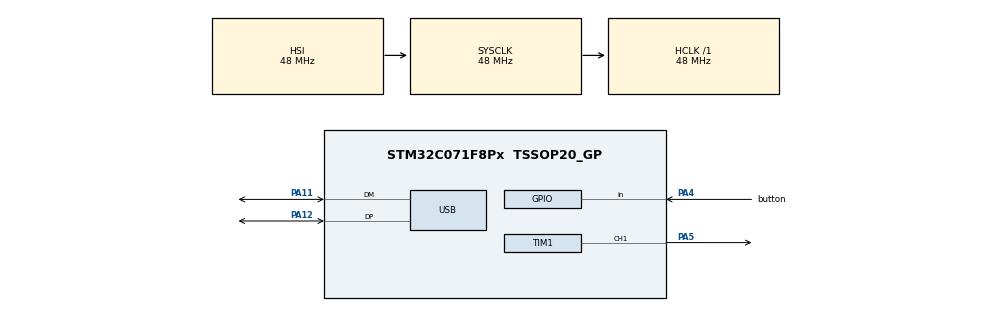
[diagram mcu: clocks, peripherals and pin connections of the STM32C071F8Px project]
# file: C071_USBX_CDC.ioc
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Dma.Request0=TIM1_CH1
Dma.TIM1_CH1.0.Direction=DMA_MEMORY_TO_PERIPH
Dma.TIM1_CH1.0.EventEnable=DISABLE
Dma.TIM1_CH1.0.Instance=DMA1_Channel1
Dma.TIM1_CH1.0.MemDataAlignment=DMA_MDATAALIGN_HALFWORD
Dma.TIM1_CH1.0.MemInc=DMA_MINC_ENABLE
Dma.TIM1_CH1.0.Mode=DMA_NORMAL
Dma.TIM1_CH1.0.PeriphDataAlignment=DMA_PDATAALIGN_HALFWORD
Dma.TIM1_CH1.0.PeriphInc=DMA_PINC_DISABLE
Dma.TIM1_CH1.0.Polarity=HAL_DMAMUX_REQ_GEN_RISING
Dma.TIM1_CH1.0.Priority=DMA_PRIORITY_MEDIUM
Dma.TIM1_CH1.0.RequestNumber=1
Dma.TIM1_CH1.0.SignalID=NONE
Dma.TIM1_CH1.0.SyncEnable=DISABLE
Dma.TIM1_CH1.0.SyncPolarity=HAL_DMAMUX_SYNC_NO_EVENT
Dma.TIM1_CH1.0.SyncRequestNumber=1
Dma.TIM1_CH1.0.SyncSignalID=NONE
Mcu.Family=STM32C0
Mcu.Name=STM32C071F8Px
Mcu.Package=TSSOP20_GP
NVIC.DMA1_Channel1_IRQn=true\:0\:0\:false\:false\:true\:false\:true\:true
NVIC.USB_DRD_FS_IRQn=true\:0\:0\:false\:false\:true\:true\:true\:true
PA11\ [PA9].Mode=Device
PA11\ [PA9].Signal=USB_DM
PA12\ [PA10].Mode=Device
PA12\ [PA10].Signal=USB_DP
PA14-BOOT0__PA15.StandardMode=true
PA4.GPIO_Label=button
PA4.GPIO_PuPd=GPIO_PULLUP
PA4.Signal=GPIO_Input
PA5.GPIO_Speed=GPIO_SPEED_FREQ_HIGH
PA5.PinState=GPIO_PIN_RESET
PA5.Signal=S_TIM1_CH1
PB3__PB4__PB5__PB6.StandardMode=true
PB7__PB8.StandardMode=true
ProjectManager.HeapSize=0x200
ProjectManager.StackSize=0x400
ProjectManager.TargetToolchain=STM32CubeIDE
RCC.ADCFreq_Value=48000000
RCC.AHBFreq_Value=48000000
RCC.CortexFreq_Value=48000000
RCC.EXTERNAL_CLOCK_VALUE=12288000
RCC.HCLKFreq_Value=48000000
RCC.HSE_VALUE=8000000
RCC.HSI48_VALUE=48000000
RCC.HSISYSCLKDivider=RCC_HSI_DIV1
RCC.HSI_VALUE=48000000
RCC.LSE_VALUE=32768
RCC.SYSCLKFreq_VALUE=48000000
SH.S_TIM1_CH1.0=TIM1_CH1,PWM Generation1 CH1
TIM1.Channel-PWM\ Generation1\ CH1=TIM_CHANNEL_1
TIM1.OCFastMode_PWM-PWM\ Generation1\ CH1=TIM_OCFAST_DISABLE
TIM1.Period=59
USB.VirtualMode=Device_Only
USBX.BSP.number=1
USBX.Core_System=1
USBX.USBD_CDCACM_EPIN_ADDR=2
USBX.USBD_CDCACM_EPOUT_ADDR=3
USBX.USBX_DEVICE_SYS_SIZE=1024*10
USBX.UX_DEVICE_APP_MEM_POOL_SIZE_STANDALONE=1024*10
USBX.UX_DEVICE_CDC_ACM=1
USBX.UX_Device_Controller=1
USBX.UX_Device_CoreStack=1
USBX0.BSP.STBoard=false
USBX0.BSP.api=Unknown
USBX0.BSP.instance=USB
USBX0.BSP.ip=USB
USBX0.BSP.mode=Device_Only
USBX0.BSP.name=USB_Device
USBX0.BSP.solution=USB
VP_RCC_USB.Mode=CRS SYNC Source USB
VP_USBX_Core_System.Mode=Core_System
VP_USBX_UX\ Device\ CDC\ ACM\ Class_FS.Mode=UX_Device_class_CDC_ACM_FS
VP_USBX_UX\ Device\ Controller_FS.Mode=UX_Device_Controller_FS
VP_USBX_UX\ Device\ CoreStack_FS.Mode=UX_Device_CoreStack_FS
board=custom

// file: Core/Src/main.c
/* USER CODE BEGIN Header */
/**
  ******************************************************************************
  * @file           : main.c
  * @brief          : Main program body
  ******************************************************************************
  * @attention
  *
  * Copyright (c) 2026 STMicroelectronics.
  * All rights reserved.
  *
  * This software is licensed under terms that can be found in the LICENSE file
  * in the root directory of this software component.
  * If no LICENSE file comes with this software, it is provided AS-IS.
  *
  ******************************************************************************
  */
/* USER CODE END Header */
#include "main.h"
#include "app_usbx_device.h"

/* USER CODE BEGIN Includes */
#include "ws2812.h"
#include <string.h>
#include <stdio.h>
#include <stdlib.h>
#include <stdarg.h>
/* USER CODE END Includes */

TIM_HandleTypeDef htim1;
DMA_HandleTypeDef hdma_tim1_ch1;

PCD_HandleTypeDef hpcd_USB_DRD_FS;

/* USER CODE BEGIN PV */
#define RX_BUF_SIZE 64
#define LINE_BUF_SIZE    64             /* 終端の\0込み */
static uint8_t  rx_buf[RX_BUF_SIZE];
static uint32_t rx_len = 0;
static char     line_buf[LINE_BUF_SIZE];
static uint16_t line_len = 0;
static uint8_t  prev_cr = 0;

#define NEO_LEDS         6
#define BTN_DEBOUNCE_MS   30U      /* チャタリング除去 */
#define BTN_LONG_MS       600U     /* この時間以上押し続けると長押し */
#define COLOR_STEP_MS     20U      /* 長押し中、色を進める間隔 */
#define COLOR_STEP        2U       /* 1回で進める色相(0..255)。全周 約2.5秒 */

static uint32_t frame_ms   = 20;     /* speedで変わる（100 / speed） */
static uint8_t  speed_val  = 5;
#define BRIGHT_DEFAULT  32U          /* 輝度の初期値 */
#define BRIGHT_MAX      128U         /* 輝度の上限 */
static uint8_t  bright_val = BRIGHT_DEFAULT;
static uint32_t reset_at   = 0;

static uint8_t  auto_demo = 0;
static uint32_t auto_interval_ms = 5000;
static uint32_t auto_next_at = 0;

/* USER CODE END PV */

void SystemClock_Config(void);
static void MX_GPIO_Init(void);
static void MX_DMA_Init(void);
static void MX_TIM1_Init(void);

/* USER CODE BEGIN 0 */

//neopixel

typedef enum {
  PAT_SOLID, PAT_BLINK, PAT_BREATH,
  PAT_RAINBOW, PAT_CHASE, PAT_KNIGHT, PAT_TWINKLE, PAT_HUE,
  PAT_MANUAL,                           /* set / fill 用（ボタン巡回では飛ばす） */
  PAT_COUNT
} neo_pat_t;

static const char *pat_names[PAT_COUNT] = {
  "solid", "blink", "breath", "rainbow", "chase", "knight", "twinkle", "hue", "manual"
};

static neo_pat_t pat       = PAT_RAINBOW;
static uint8_t   col_r = 255, col_g = 0, col_b = 0;   /* 単色系パターンの色 */
static uint8_t   col_hue = 0;                         /* 長押しで変える色相（0=赤） */
static uint32_t  frame = 0;
static uint8_t   tw[NEO_LEDS];          /* twinkle用の明るさ */
static uint32_t  rnd = 2463534242u;

static uint32_t xorshift(void)
{
  rnd ^= rnd << 13; rnd ^= rnd >> 17; rnd ^= rnd << 5;
  return rnd;
}

/* 輝度は WS2812_Show() 側で掛かる */
static void put(uint32_t i, uint8_t r, uint8_t g, uint8_t b)
{
  WS2812_SetPixel(i, r, g, b);
}
/* 単色(col_*) × level(0..255) */
static void put_level(uint32_t i, uint8_t level)
{
  uint32_t l = (uint32_t)level + 1;
  put(i, (col_r * l) >> 8, (col_g * l) >> 8, (col_b * l) >> 8);
}

/* 色相 0..255 → RGB（彩度・明度は最大） */
static void hue2rgb(uint8_t h, uint8_t *r, uint8_t *g, uint8_t *b)
{
  uint8_t region = h / 43;
  uint8_t rem = (uint8_t)((h - region * 43) * 6);
  switch (region) {
  case 0:  *r = 255;       *g = rem;       *b = 0;         break;
  case 1:  *r = 255 - rem; *g = 255;       *b = 0;         break;
  case 2:  *r = 0;         *g = 255;       *b = rem;       break;
  case 3:  *r = 0;         *g = 255 - rem; *b = 255;       break;
  case 4:  *r = rem;       *g = 0;         *b = 255;       break;
  default: *r = 255;       *g = 0;         *b = 255 - rem; break;
  }
}

void neo_set_pattern(neo_pat_t p)
{
  pat = p;
  frame = 0;
  memset(tw, 0, sizeof(tw));
}

/* メインループから毎回呼ぶ。frame_ms(既定20ms)ごとに1フレーム進める */
void neo_update(void)
{
  static uint32_t last = 0;
  if (!WS2812_IsReady()) return;                    /* 送信中は飛ばす */
  if ((HAL_GetTick() - last) < frame_ms) return;
  last = HAL_GetTick();

  uint32_t t = frame++;

  switch (pat) {
  case PAT_MANUAL:                          /* set / fill で指定した色を保持 */
    break;

  case PAT_SOLID:
    for (uint32_t i = 0; i < NEO_LEDS; i++) put_level(i, 255);
    break;

  case PAT_BLINK: {                         /* 0.5秒ごとに点滅 */
    uint8_t lv = ((t / 25) & 1) ? 0 : 255;
    for (uint32_t i = 0; i < NEO_LEDS; i++) put_level(i, lv);
    break;
  }

  case PAT_BREATH: {                        /* 呼吸（約2秒周期） */
    uint32_t ph = (t * 6) % 512;
    uint32_t v  = (ph < 256) ? ph : 511 - ph;   /* 三角波 */
    v = (v * v) >> 8;                           /* 簡易ガンマ */
    for (uint32_t i = 0; i < NEO_LEDS; i++) put_level(i, (uint8_t)v);
    break;
  }

  case PAT_RAINBOW:                         /* 虹が流れる */
    for (uint32_t i = 0; i < NEO_LEDS; i++) {
      uint8_t r, g, b;
      hue2rgb((uint8_t)(t * 2 + (i * 256) / NEO_LEDS), &r, &g, &b);
      put(i, r, g, b);
    }
    break;

  case PAT_CHASE: {                         /* 1個が走る */
    uint32_t pos = (t / 6) % NEO_LEDS;
    for (uint32_t i = 0; i < NEO_LEDS; i++) put_level(i, (i == pos) ? 255 : 0);
    break;
  }

  case PAT_KNIGHT: {                        /* 往復＋尾を引く */
    const uint32_t period = 2 * (NEO_LEDS - 1);
    uint32_t s   = (t / 3) % period;
    uint32_t pos = (s < NEO_LEDS) ? s : period - s;
    for (uint32_t i = 0; i < NEO_LEDS; i++) {
      uint32_t d = (i > pos) ? i - pos : pos - i;
      uint8_t lv = (d == 0) ? 255 : (d == 1) ? 90 : (d == 2) ? 25 : 0;
      put_level(i, lv);
    }
    break;
  }

  case PAT_HUE: {                                   /* 全体が同じ色でゆっくり色相変化 */
	  uint8_t r, g, b;
	  hue2rgb((uint8_t)t, &r, &g, &b);
	  for (uint32_t i = 0; i < NEO_LEDS; i++) put(i, r, g, b);
	  break;
	}

  case PAT_TWINKLE:                         /* ランダムにキラッと光って消える */
    for (uint32_t i = 0; i < NEO_LEDS; i++) tw[i] = (tw[i] > 6) ? tw[i] - 6 : 0;
    if ((xorshift() & 7) == 0) tw[xorshift() % NEO_LEDS] = 255;
    for (uint32_t i = 0; i < NEO_LEDS; i++) put_level(i, tw[i]);
    break;

  default:
    break;
  }

  WS2812_Show();
}

static void cdc_puts(const char *s)
{
  USBD_CDC_ACM_Write((const uint8_t *)s, strlen(s));
}

static void neo_next_pattern(void);        /* 前方宣言 */

#define MAX_ARGS 6

static void cdc_printf(const char *fmt, ...)
{
  char tmp[96];
  va_list ap;
  va_start(ap, fmt);
  int n = vsnprintf(tmp, sizeof(tmp), fmt, ap);
  va_end(ap);
  if (n > 0) {
    if (n >= (int)sizeof(tmp)) n = sizeof(tmp) - 1;
    USBD_CDC_ACM_Write((const uint8_t *)tmp, (uint32_t)n);
  }
}

/* 空白で区切って argv を作る（line を直接書き換える） */
static int tokenize(char *s, char *argv[])
{
  int argc = 0;
  while (*s && argc < MAX_ARGS) {
    while (*s == ' ') *s++ = '\0';
    if (*s == '\0') break;
    argv[argc++] = s;
    while (*s && *s != ' ') s++;
  }
  return argc;
}

/* 範囲チェック付きの整数パース */
static int parse_int(const char *s, int lo, int hi, int *out)
{
  char *end;
  long v = strtol(s, &end, 10);
  if (end == s || *end != '\0' || v < lo || v > hi) return 0;
  *out = (int)v;
  return 1;
}

static void bad_args(void) { cdc_puts("bad args (see help)\r\n"); }

/* ---- ハンドラ ---- */
static void cmd_list(int argc, char *argv[])
{
  (void)argc; (void)argv;
  for (int i = 0; i < PAT_COUNT; i++) {
    cdc_puts(pat_names[i]);
    cdc_puts(i < PAT_COUNT - 1 ? " " : "\r\n");
  }
}

static void cmd_pat(int argc, char *argv[])
{
  if (argc != 2) { bad_args(); return; }
  for (int i = 0; i < PAT_COUNT; i++) {
    if (strcmp(argv[1], pat_names[i]) == 0) {
      neo_set_pattern((neo_pat_t)i);
      cdc_puts("ok\r\n");
      return;
    }
  }
  cdc_puts("unknown pattern\r\n");
}

static void cmd_next(int argc, char *argv[])
{
  (void)argc; (void)argv;
  neo_next_pattern();
}

static void cmd_bright(int argc, char *argv[])
{
  int v;
  if (argc != 2 || !parse_int(argv[1], 0, BRIGHT_MAX, &v)) { bad_args(); return; }
  bright_val = (uint8_t)v;
  WS2812_SetBrightness(bright_val);
  cdc_puts("ok\r\n");
}

static void cmd_speed(int argc, char *argv[])
{
  int v;
  if (argc != 2 || !parse_int(argv[1], 1, 10, &v)) { bad_args(); return; }
  speed_val = (uint8_t)v;
  frame_ms  = 100U / (uint32_t)v;           /* 1→100ms, 5→20ms, 10→10ms */
  cdc_puts("ok\r\n");
}

static void cmd_color(int argc, char *argv[])
{
  int r, g, b;
  if (argc != 4 || !parse_int(argv[1], 0, 255, &r) ||
      !parse_int(argv[2], 0, 255, &g) || !parse_int(argv[3], 0, 255, &b)) {
    bad_args(); return;
  }
  col_r = (uint8_t)r; col_g = (uint8_t)g; col_b = (uint8_t)b;
  cdc_puts("ok\r\n");
}

static void cmd_set(int argc, char *argv[])
{
  int idx, r, g, b;
  if (argc != 5 || !parse_int(argv[1], 0, WS2812_LED_COUNT - 1, &idx) ||
      !parse_int(argv[2], 0, 255, &r) || !parse_int(argv[3], 0, 255, &g) ||
      !parse_int(argv[4], 0, 255, &b)) {
    bad_args(); return;
  }
  if (pat != PAT_MANUAL) neo_set_pattern(PAT_MANUAL);   /* 直前のフレームを保持 */
  WS2812_SetPixel((uint32_t)idx, (uint8_t)r, (uint8_t)g, (uint8_t)b);
  cdc_puts("ok\r\n");
}

static void cmd_fill(int argc, char *argv[])
{
  int r, g, b;
  if (argc != 4 || !parse_int(argv[1], 0, 255, &r) ||
      !parse_int(argv[2], 0, 255, &g) || !parse_int(argv[3], 0, 255, &b)) {
    bad_args(); return;
  }
  if (pat != PAT_MANUAL) neo_set_pattern(PAT_MANUAL);
  WS2812_SetAll((uint8_t)r, (uint8_t)g, (uint8_t)b);
  cdc_puts("ok\r\n");
}

static void cmd_status(int argc, char *argv[])
{
  (void)argc; (void)argv;
  cdc_printf(
      "pat=%s bright=%u speed=%u auto=%u interval=%lu color=%u,%u,%u\r\n",
      pat_names[pat],
      (unsigned)bright_val,
      (unsigned)speed_val,
      (unsigned)auto_demo,
      (unsigned long)(auto_interval_ms / 1000),
      (unsigned)col_r,
      (unsigned)col_g,
      (unsigned)col_b);
}

static void cmd_uptime(int argc, char *argv[])
{
  (void)argc; (void)argv;
  uint32_t s = HAL_GetTick() / 1000U;
  cdc_printf("%lu:%02lu:%02lu\r\n", (unsigned long)(s / 3600U),
             (unsigned long)((s / 60U) % 60U), (unsigned long)(s % 60U));
}

static void cmd_auto(int argc, char *argv[])
{
    if (argc != 2)
    {
        bad_args();
        return;
    }

    if (strcmp(argv[1], "on") == 0)
    {
        auto_demo = 1;
        auto_next_at = HAL_GetTick() + auto_interval_ms;
        cdc_puts("auto on\r\n");
    }
    else if (strcmp(argv[1], "off") == 0)
    {
        auto_demo = 0;
        cdc_puts("auto off\r\n");
    }
    else
    {
        bad_args();
    }
}

static void cmd_interval(int argc, char *argv[])
{
    int v;

    if (argc != 2 ||
        !parse_int(argv[1], 1, 3600, &v))
    {
        bad_args();
        return;
    }

    auto_interval_ms = (uint32_t)v * 1000U;

    cdc_puts("ok\r\n");
}

static void cmd_reset(int argc, char *argv[])
{
  (void)argc; (void)argv;
  cdc_puts("resetting...\r\n");
  reset_at = HAL_GetTick() + 100U;           /* 返信を送り切ってからリセット */
  if (reset_at == 0U) reset_at = 1U;
}

/* ---- コマンドテーブル ---- */
typedef struct {
  const char *name;
  const char *usage;
  void (*fn)(int argc, char *argv[]);
} cmd_t;

static void cmd_help(int argc, char *argv[]);

static const cmd_t cmds[] = {
  { "help",   "",                   cmd_help   },
  { "list",   "",                   cmd_list   },
  { "pat",    "<name>",             cmd_pat    },
  { "next",   "",                   cmd_next   },
  { "auto",     "<on|off>",  cmd_auto     },
  { "interval", "<sec>",     cmd_interval },
  { "bright", "<0-128>",            cmd_bright },
  { "speed",  "<1-10>",             cmd_speed  },
  { "color",  "<r> <g> <b>",        cmd_color  },
  { "set",    "<idx> <r> <g> <b>",  cmd_set    },
  { "fill",   "<r> <g> <b>",        cmd_fill   },
  { "status", "",                   cmd_status },
  { "uptime", "",                   cmd_uptime },
  { "reset",  "",                   cmd_reset  },
};
#define CMD_COUNT  (sizeof(cmds) / sizeof(cmds[0]))

static void cmd_help(int argc, char *argv[])
{
  (void)argc; (void)argv;
  for (size_t i = 0; i < CMD_COUNT; i++) {
    cdc_printf("%s %s\r\n", cmds[i].name, cmds[i].usage);
  }
}

/* 1行確定時に呼ばれる */
static void on_line(char *line)
{
  char *argv[MAX_ARGS];
  int argc = tokenize(line, argv);
  if (argc == 0) return;

  for (size_t i = 0; i < CMD_COUNT; i++) {
    if (strcmp(argv[0], cmds[i].name) == 0) {
      cmds[i].fn(argc, argv);
      return;
    }
  }
  cdc_puts("unknown command (try: help)\r\n");
}

/* メインループから呼ぶ。resetコマンドの実行待ち */
static void reset_task(void)
{
  if (reset_at != 0U && (int32_t)(HAL_GetTick() - reset_at) >= 0) {
    NVIC_SystemReset();
  }
}

static void rx_byte(uint8_t c)
{
  uint8_t was_cr = prev_cr;
  prev_cr = (c == '\r');

  switch (c) {
  case '\r':
  case '\n':
    if (c == '\n' && was_cr) break;          /* CRLFの\nは読み飛ばす */
    line_buf[line_len] = '\0';
    on_line(line_buf);
    line_len = 0;
    break;

  case 0x08:                                 /* Backspace / DEL */
  case 0x7F:
    if (line_len > 0) line_len--;            /* バッファからだけ削除 */
    break;

  default:
    if (c >= 0x20 && c < 0x7F && line_len < LINE_BUF_SIZE - 1) {
      line_buf[line_len++] = (char)c;
    }
    break;
  }
}

static void neo_next_pattern(void)
{
  uint32_t n = (pat + 1) % PAT_COUNT;
  if (n == PAT_MANUAL) n = (n + 1) % PAT_COUNT;
  neo_set_pattern((neo_pat_t)n);
  cdc_puts(pat_names[pat]);
  cdc_puts("\r\n");
}

/* color の影響を受けるパターンか */
static uint8_t pat_uses_color(neo_pat_t p)
{
  return (p == PAT_RAINBOW || p == PAT_HUE || p == PAT_MANUAL) ? 0U : 1U;
}

/* メインループから毎回呼ぶ。
 *  短押し(離した時) : 次のパターン
 *  長押し(押している間): 色相が連続して変わる。離すと現在の色を表示 */
static void button_task(void)
{
  static GPIO_PinState raw_prev = GPIO_PIN_SET;   /* 押下でLow(プルアップ) */
  static GPIO_PinState stable   = GPIO_PIN_SET;
  static uint32_t raw_changed = 0;
  static uint32_t press_start = 0;
  static uint32_t last_step   = 0;
  static uint8_t  long_active = 0;

  uint32_t now = HAL_GetTick();
  GPIO_PinState raw = HAL_GPIO_ReadPin(button_GPIO_Port, button_Pin);

  /* チャタリング除去：一定時間変化しなければ確定 */
  if (raw != raw_prev) {
    raw_prev = raw;
    raw_changed = now;
  }
  if (raw != stable && (now - raw_changed) >= BTN_DEBOUNCE_MS) {
    stable = raw;
    if (stable == GPIO_PIN_RESET) {               /* 押した */
      press_start = now;
      long_active = 0;
    } else {                                      /* 離した */
      if (long_active) {
        cdc_printf("color=%u,%u,%u\r\n",
                   (unsigned)col_r, (unsigned)col_g, (unsigned)col_b);
      } else {
        neo_next_pattern();                       /* 短押し */
      }
      long_active = 0;
    }
  }

  /* 押している間 */
  if (stable == GPIO_PIN_RESET) {
    if (!long_active && (now - press_start) >= BTN_LONG_MS) {
      long_active = 1;
      last_step = now;
      if (!pat_uses_color(pat)) {
        neo_set_pattern(PAT_SOLID);               /* 色の変化が見えるパターンへ */
      }
    }
    if (long_active && (now - last_step) >= COLOR_STEP_MS) {
      last_step = now;
      col_hue = (uint8_t)(col_hue + COLOR_STEP);
      hue2rgb(col_hue, &col_r, &col_g, &col_b);
    }
  }
}

static void auto_demo_task(void)
{
    if (!auto_demo)
        return;

    uint32_t now = HAL_GetTick();

    if ((int32_t)(now - auto_next_at) >= 0)
    {
        auto_next_at = now + auto_interval_ms;
        neo_next_pattern();
    }
}

/* USER CODE END 0 */

int main(void)
{

  /* MCU Configuration--------------------------------------------------------*/

  /* Reset of all peripherals, Initializes the Flash interface and the Systick. */
  HAL_Init();

  /* Configure the system clock */
  SystemClock_Config();

  /* Initialize all configured peripherals */
  MX_GPIO_Init();
  MX_DMA_Init();
  MX_USBX_Device_Init();
  MX_TIM1_Init();
  /* USER CODE BEGIN 2 */
  MX_USB_PCD_Init();
  WS2812_SetBrightness(bright_val);
  neo_set_pattern(PAT_RAINBOW);
  /* USER CODE END 2 */

  /* Infinite loop */
  /* USER CODE BEGIN WHILE */
  while (1)
  {
	ux_device_stack_tasks_run();

	USBD_CDC_ACM_Receive(rx_buf, RX_BUF_SIZE, &rx_len);
	for (uint32_t i = 0; i < rx_len; i++) {
	  rx_byte(rx_buf[i]);
	}
	rx_len = 0;

	USBD_CDC_ACM_TxTask();
	button_task();
	auto_demo_task();
	neo_update();
	reset_task();

    /* USER CODE END WHILE */

  }
}

void SystemClock_Config(void)
{
  RCC_OscInitTypeDef RCC_OscInitStruct = {0};
  RCC_ClkInitTypeDef RCC_ClkInitStruct = {0};
  RCC_CRSInitTypeDef RCC_CRSInitStruct = {0};

  __HAL_FLASH_SET_LATENCY(FLASH_LATENCY_1);

  /** Initializes the RCC Oscillators according to the specified parameters
  * in the RCC_OscInitTypeDef structure.
  */
  RCC_OscInitStruct.OscillatorType = RCC_OSCILLATORTYPE_HSI|RCC_OSCILLATORTYPE_HSI48;
  RCC_OscInitStruct.HSIState = RCC_HSI_ON;
  RCC_OscInitStruct.HSIDiv = RCC_HSI_DIV1;
  RCC_OscInitStruct.HSICalibrationValue = RCC_HSICALIBRATION_DEFAULT;
  RCC_OscInitStruct.HSI48State = RCC_HSI48_ON;

  if (HAL_RCC_OscConfig(&RCC_OscInitStruct) != HAL_OK)
  {
    Error_Handler();
  }

  /** Initializes the CPU, AHB and APB buses clocks
  */
  RCC_ClkInitStruct.ClockType = RCC_CLOCKTYPE_HCLK|RCC_CLOCKTYPE_SYSCLK
                              |RCC_CLOCKTYPE_PCLK1;
  RCC_ClkInitStruct.SYSCLKSource = RCC_SYSCLKSOURCE_HSI;
  RCC_ClkInitStruct.SYSCLKDivider = RCC_SYSCLK_DIV1;
  RCC_ClkInitStruct.AHBCLKDivider = RCC_HCLK_DIV1;
  RCC_ClkInitStruct.APB1CLKDivider = RCC_APB1_DIV1;

  if (HAL_RCC_ClockConfig(&RCC_ClkInitStruct, FLASH_LATENCY_1) != HAL_OK)
  {
    Error_Handler();
  }

  /** Enable the CRS APB clock
  */
  __HAL_RCC_CRS_CLK_ENABLE();

  /** Configures CRS
  */
  RCC_CRSInitStruct.Prescaler = RCC_CRS_SYNC_DIV1;
  RCC_CRSInitStruct.Source = RCC_CRS_SYNC_SOURCE_USB;
  RCC_CRSInitStruct.Polarity = RCC_CRS_SYNC_POLARITY_RISING;
  RCC_CRSInitStruct.ReloadValue = __HAL_RCC_CRS_RELOADVALUE_CALCULATE(48000000,1000);
  RCC_CRSInitStruct.ErrorLimitValue = 34;
  RCC_CRSInitStruct.HSI48CalibrationValue = 32;

  HAL_RCCEx_CRSConfig(&RCC_CRSInitStruct);
}

static void MX_TIM1_Init(void)
{

  TIM_MasterConfigTypeDef sMasterConfig = {0};
  TIM_OC_InitTypeDef sConfigOC = {0};
  TIM_BreakDeadTimeConfigTypeDef sBreakDeadTimeConfig = {0};

  htim1.Instance = TIM1;
  htim1.Init.Prescaler = 0;
  htim1.Init.CounterMode = TIM_COUNTERMODE_UP;
  htim1.Init.Period = 59;
  htim1.Init.ClockDivision = TIM_CLOCKDIVISION_DIV1;
  htim1.Init.RepetitionCounter = 0;
  htim1.Init.AutoReloadPreload = TIM_AUTORELOAD_PRELOAD_DISABLE;
  if (HAL_TIM_PWM_Init(&htim1) != HAL_OK)
  {
    Error_Handler();
  }
  sMasterConfig.MasterOutputTrigger = TIM_TRGO_RESET;
  sMasterConfig.MasterOutputTrigger2 = TIM_TRGO2_RESET;
  sMasterConfig.MasterSlaveMode = TIM_MASTERSLAVEMODE_DISABLE;
  if (HAL_TIMEx_MasterConfigSynchronization(&htim1, &sMasterConfig) != HAL_OK)
  {
    Error_Handler();
  }
  sConfigOC.OCMode = TIM_OCMODE_PWM1;
  sConfigOC.Pulse = 0;
  sConfigOC.OCPolarity = TIM_OCPOLARITY_HIGH;
  sConfigOC.OCNPolarity = TIM_OCNPOLARITY_HIGH;
  sConfigOC.OCFastMode = TIM_OCFAST_DISABLE;
  sConfigOC.OCIdleState = TIM_OCIDLESTATE_RESET;
  sConfigOC.OCNIdleState = TIM_OCNIDLESTATE_RESET;
  if (HAL_TIM_PWM_ConfigChannel(&htim1, &sConfigOC, TIM_CHANNEL_1) != HAL_OK)
  {
    Error_Handler();
  }
  sBreakDeadTimeConfig.OffStateRunMode = TIM_OSSR_DISABLE;
  sBreakDeadTimeConfig.OffStateIDLEMode = TIM_OSSI_DISABLE;
  sBreakDeadTimeConfig.LockLevel = TIM_LOCKLEVEL_OFF;
  sBreakDeadTimeConfig.DeadTime = 0;
  sBreakDeadTimeConfig.BreakState = TIM_BREAK_DISABLE;
  sBreakDeadTimeConfig.BreakPolarity = TIM_BREAKPOLARITY_HIGH;
  sBreakDeadTimeConfig.BreakFilter = 0;
  sBreakDeadTimeConfig.BreakAFMode = TIM_BREAK_AFMODE_INPUT;
  sBreakDeadTimeConfig.Break2State = TIM_BREAK2_DISABLE;
  sBreakDeadTimeConfig.Break2Polarity = TIM_BREAK2POLARITY_HIGH;
  sBreakDeadTimeConfig.Break2Filter = 0;
  sBreakDeadTimeConfig.Break2AFMode = TIM_BREAK_AFMODE_INPUT;
  sBreakDeadTimeConfig.AutomaticOutput = TIM_AUTOMATICOUTPUT_DISABLE;
  if (HAL_TIMEx_ConfigBreakDeadTime(&htim1, &sBreakDeadTimeConfig) != HAL_OK)
  {
    Error_Handler();
  }
  HAL_TIM_MspPostInit(&htim1);

}

void MX_USB_PCD_Init(void)
{

  hpcd_USB_DRD_FS.Instance = USB_DRD_FS;
  hpcd_USB_DRD_FS.Init.dev_endpoints = 8;
  hpcd_USB_DRD_FS.Init.speed = USBD_FS_SPEED;
  hpcd_USB_DRD_FS.Init.phy_itface = PCD_PHY_EMBEDDED;
  hpcd_USB_DRD_FS.Init.Sof_enable = DISABLE;
  hpcd_USB_DRD_FS.Init.low_power_enable = DISABLE;
  hpcd_USB_DRD_FS.Init.lpm_enable = DISABLE;
  hpcd_USB_DRD_FS.Init.battery_charging_enable = DISABLE;
  hpcd_USB_DRD_FS.Init.vbus_sensing_enable = DISABLE;
  hpcd_USB_DRD_FS.Init.bulk_doublebuffer_enable = DISABLE;
  hpcd_USB_DRD_FS.Init.iso_singlebuffer_enable = DISABLE;
  if (HAL_PCD_Init(&hpcd_USB_DRD_FS) != HAL_OK)
  {
    Error_Handler();
  }
  /* USER CODE BEGIN USB_Init 2 */
  HAL_PCDEx_PMAConfig(&hpcd_USB_DRD_FS , 0x00 , PCD_SNG_BUF, 0x20);//EP0 OUT
  HAL_PCDEx_PMAConfig(&hpcd_USB_DRD_FS , 0x80 , PCD_SNG_BUF, 0x60);//EP0 IN
  HAL_PCDEx_PMAConfig(&hpcd_USB_DRD_FS , 0x81 , PCD_SNG_BUF, 0xA0);//EP1 IN
  HAL_PCDEx_PMAConfig(&hpcd_USB_DRD_FS , 0x82 , PCD_SNG_BUF, 0xE0);//EP2 IN
  HAL_PCDEx_PMAConfig(&hpcd_USB_DRD_FS , 0x03 , PCD_SNG_BUF, 0xF0);//EP3 OUT
  _ux_dcd_stm32_initialize((ULONG)NULL, (ULONG)&hpcd_USB_DRD_FS);
  HAL_PCD_Start(&hpcd_USB_DRD_FS);
  /* USER CODE END USB_Init 2 */

}

static void MX_DMA_Init(void)
{

  /* DMA controller clock enable */
  __HAL_RCC_DMA1_CLK_ENABLE();

  /* DMA interrupt init */
  /* DMA1_Channel1_IRQn interrupt configuration */
  HAL_NVIC_SetPriority(DMA1_Channel1_IRQn, 0, 0);
  HAL_NVIC_EnableIRQ(DMA1_Channel1_IRQn);

}

static void MX_GPIO_Init(void)
{
  GPIO_InitTypeDef GPIO_InitStruct = {0};

  /* GPIO Ports Clock Enable */
  __HAL_RCC_GPIOA_CLK_ENABLE();

  /*Configure GPIO pin : button_Pin */
  GPIO_InitStruct.Pin = button_Pin;
  GPIO_InitStruct.Mode = GPIO_MODE_INPUT;
  GPIO_InitStruct.Pull = GPIO_PULLUP;
  HAL_GPIO_Init(button_GPIO_Port, &GPIO_InitStruct);

}

void Error_Handler(void)
{
  __disable_irq();
  while (1)
  {
  }
}
